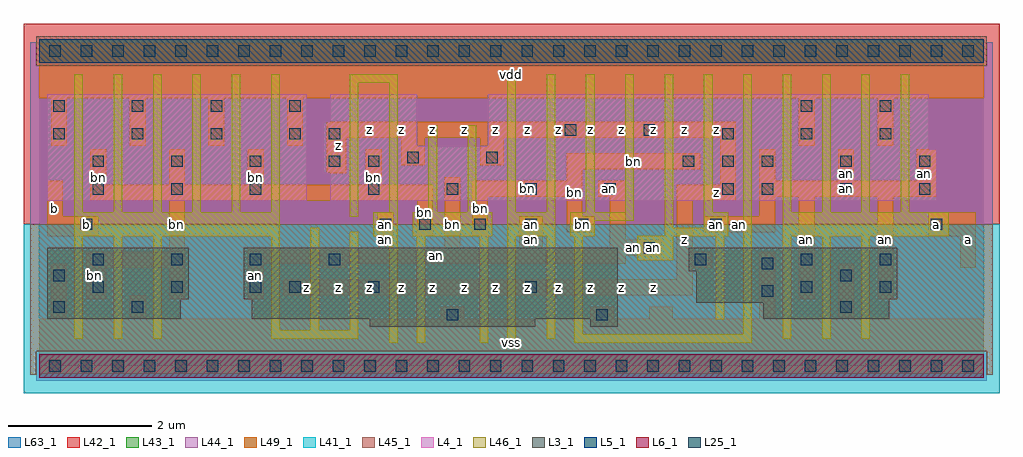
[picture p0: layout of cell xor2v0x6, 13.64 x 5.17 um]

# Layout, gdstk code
import gdstk
lib = gdstk.Library(unit=1e-6, precision=1e-09)
def R(c, l, rs):  # rectangles x0, y0, x1, y1
    for r in rs: c.add(gdstk.rectangle(r[:2], r[2:], *l))
def A(c, l, x, y, w, h, nx, ny, dx, dy):  # array of equal rectangles
    R(c, l, [(x+i*dx, y+j*dy, x+i*dx+w, y+j*dy+h) for i in range(nx) for j in range(ny)])
L3_1 = (3, 1)
L4_1 = (4, 1)
L5_1 = (5, 1)
L6_1 = (6, 1)
L25_1 = (25, 1)
L41_1 = (41, 1)
L42_1 = (42, 1)
L43_1 = (43, 1)
L44_1 = (44, 1)
L45_1 = (45, 1)
L46_1 = (46, 1)
L49_1 = (49, 1)
L63_1 = (63, 1)

xor2v0x6 = lib.new_cell('xor2v0x6')
R(xor2v0x6, L3_1, [(4.62,0.55,6.93,0.66), (7.7,0.55,8.085,0.66), (0.11,0.66,1.98,0.935), (2.97,0.66,8.085,0.935), (10.12,0.66,11.88,0.88), (9.185,0.88,11.88,0.935), (0.11,0.935,2.09,1.65), (2.86,0.935,8.085,1.65), (9.185,0.935,11.99,1.32), (9.075,1.32,11.99,1.65)])
R(xor2v0x6, L4_1, [(0.11,2.31,3.74,3.795), (4.07,2.31,12.54,2.695), (3.96,2.695,12.54,3.025), (3.96,3.025,12.43,3.08), (3.96,3.08,5.28,3.41), (6.27,3.08,12.43,3.795), (4.07,3.41,5.28,3.795)])
R(xor2v0x6, L5_1, [(0,4.235,13.2,4.565)])
R(xor2v0x6, L6_1, [(0,-0.165,13.2,0.165)])
A(xor2v0x6, L25_1, 0.14, -0.08, 0.16, 0.16, 30, 2, 0.44, 4.4)
A(xor2v0x6, L25_1, 0.745, 1.02, 0.16, 0.16, 3, 2, 1.1, 1.375)
A(xor2v0x6, L25_1, 0.745, 1.405, 0.16, 0.16, 4, 2, 1.1, 1.375)
A(xor2v0x6, L25_1, 6.08, 1.9, 0.16, 0.16, 3, 1, 0.715, 0)
A(xor2v0x6, L25_1, 4.595, 2.395, 0.16, 0.16, 4, 1, 1.1, 0)
A(xor2v0x6, L25_1, 10.095, 2.395, 0.16, 0.16, 3, 1, 1.1, 0)
A(xor2v0x6, L25_1, 8.995, 2.78, 0.16, 0.16, 3, 1, 0.55, 0)
A(xor2v0x6, L25_1, 0.195, 3.165, 0.16, 0.16, 4, 2, 1.1, 0.385)
A(xor2v0x6, L25_1, 9.545, 3.165, 0.16, 0.16, 3, 1, 1.1, 0)
R(xor2v0x6, L25_1, [(5.695,0.635,5.855,0.795), (7.785,0.635,7.945,0.795), (0.195,0.745,0.355,0.905), (1.295,0.745,1.455,0.905), (11.195,0.745,11.355,0.905), (10.095,0.965,10.255,1.125), (3.495,1.02,3.655,1.18), (4.595,1.02,4.755,1.18), (6.795,1.02,6.955,1.18), (10.645,1.02,10.805,1.18), (11.745,1.02,11.905,1.18), (0.195,1.185,0.355,1.345), (11.195,1.185,11.355,1.345), (10.095,1.35,10.255,1.51), (9.16,1.405,9.32,1.565), (10.645,1.405,10.805,1.565), (11.745,1.405,11.905,1.565), (8.445,1.57,8.605,1.73), (0.58,1.9,0.74,2.06), (4.76,1.9,4.92,2.06), (5.31,1.9,5.47,2.06), (9.38,1.9,9.54,2.06), (12.46,1.9,12.62,2.06), (9.545,2.395,9.705,2.555), (4.595,2.78,4.755,2.94), (11.195,2.78,11.355,2.94), (12.295,2.78,12.455,2.94), (5.145,2.835,5.305,2.995), (6.245,2.835,6.405,2.995), (4.045,3.165,4.205,3.325), (7.345,3.22,7.505,3.38), (8.445,3.22,8.605,3.38), (10.645,3.55,10.805,3.71), (11.745,3.55,11.905,3.71)])
R(xor2v0x6, L41_1, [(-0.22,-0.385,13.42,1.98)])
R(xor2v0x6, L42_1, [(-0.22,1.98,13.42,4.785)])
R(xor2v0x6, L43_1, [(0,-0.165,13.2,0.165), (4.62,0.55,6.93,0.66), (7.7,0.55,8.085,0.66), (0.11,0.66,1.98,0.935), (2.97,0.66,8.085,0.935), (10.12,0.66,11.88,0.88), (9.185,0.88,11.88,0.935), (0.11,0.935,2.09,1.65), (2.86,0.935,8.085,1.65), (9.185,0.935,11.99,1.32), (9.075,1.32,11.99,1.65), (0.11,2.31,3.74,3.795), (4.07,2.31,12.54,2.695), (3.96,2.695,12.54,3.025), (3.96,3.025,12.43,3.08), (3.96,3.08,5.28,3.41), (6.27,3.08,12.43,3.795), (4.07,3.41,5.28,3.795), (0,4.235,13.2,4.565)])
R(xor2v0x6, L44_1, [(-0.04,-0.205,13.24,0.205), (-0.125,1.98,13.325,4.195), (-0.125,4.195,-0.04,4.525), (13.24,4.195,13.325,4.525)])
R(xor2v0x6, L45_1, [(-0.125,-0.125,-0.04,0.205), (13.24,-0.125,13.325,0.205), (-0.125,0.205,13.325,1.98), (-0.04,4.195,13.24,4.605)])
A(xor2v0x6, L46_1, 0.49, 0.38, 0.12, 1.43, 3, 1, 0.55, 0)
A(xor2v0x6, L46_1, 10.39, 0.38, 0.12, 1.43, 3, 1, 0.55, 0)
A(xor2v0x6, L46_1, 0.49, 2.15, 0.12, 1.925, 6, 1, 0.55, 0)
A(xor2v0x6, L46_1, 6.54, 2.15, 0.12, 1.925, 4, 1, 0.55, 0)
A(xor2v0x6, L46_1, 10.39, 2.15, 0.12, 1.925, 4, 1, 0.55, 0)
R(xor2v0x6, L46_1, [(4.89,0.325,5.01,1.81), (5.275,0.325,5.395,1.81), (6.155,0.325,6.275,1.81), (6.54,0.325,6.66,1.81), (7.475,0.325,9.96,0.445), (3.24,0.38,4.46,0.5), (7.09,0.38,7.21,1.81), (7.475,0.445,7.595,1.81), (9.84,0.445,9.96,4.075), (3.24,0.5,3.36,1.81), (3.79,0.5,3.91,1.93), (4.34,0.5,4.46,1.875), (9.455,0.655,9.575,1.81), (8.355,1.48,8.86,1.81), (0.49,1.81,3.36,2.15), (4.67,1.81,5.01,2.15), (5.22,1.81,6.33,2.15), (6.54,1.81,7.21,2.15), (7.42,1.81,7.76,2.03), (8.355,1.81,9.63,1.82), (10.39,1.81,12.71,2.15), (8.74,1.82,9.63,1.93), (8.74,1.93,8.86,4.075), (9.29,1.93,9.63,2.15), (7.42,2.03,8.31,2.15), (4.34,2.085,4.46,3.955), (4.89,2.15,5.01,3.955), (5.44,2.15,5.56,3.36), (5.99,2.15,6.11,3.36), (9.29,2.15,9.41,4.075), (4.34,3.955,5.01,4.075)])
A(xor2v0x6, L49_1, 0.715, 2.53, 0.22, 0.495, 3, 1, 1.1, 0)
A(xor2v0x6, L49_1, 0.165, 3.08, 0.22, 0.66, 4, 1, 1.1, 0)
R(xor2v0x6, L49_1, [(0,-0.11,13.2,0.66), (0.165,0.66,0.385,1.43), (1.265,0.66,1.485,0.99), (5.61,0.66,5.94,0.825), (7.7,0.66,8.03,0.825), (8.525,0.66,8.855,0.825), (10.065,0.66,10.285,1.595), (11.165,0.66,11.385,1.43), (0.66,0.935,0.935,1.375), (1.815,0.935,2.035,1.375), (2.915,0.935,3.135,1.43), (10.615,0.935,10.835,2.365), (11.715,0.935,11.935,2.365), (3.41,0.99,9.13,1.21), (8.91,1.21,9.13,1.375), (0.66,1.375,2.035,1.595), (3.96,1.375,4.29,1.43), (8.91,1.375,9.405,1.595), (12.87,1.375,13.09,1.815), (2.915,1.43,8.195,1.54), (2.915,1.54,8.69,1.65), (1.815,1.595,2.035,2.31), (8.91,1.595,9.13,2.31), (4.73,1.65,4.95,2.145), (5.665,1.65,5.885,2.64), (6.71,1.65,7.04,2.09), (7.975,1.65,8.69,1.76), (7.975,1.76,8.195,2.365), (0.11,1.815,0.825,2.09), (5.28,1.815,5.5,2.31), (6.05,1.815,6.27,2.365), (12.43,1.815,13.09,2.145), (7.37,1.87,7.755,2.09), (9.295,1.87,10.285,2.09), (0.11,2.09,0.33,2.585), (7.37,2.09,7.59,2.365), (10.065,2.09,10.285,2.365), (0.715,2.31,5.5,2.53), (8.91,2.31,9.735,2.53), (6.05,2.365,7.59,2.585), (7.81,2.365,8.195,2.585), (10.065,2.365,12.54,2.585), (4.565,2.53,4.785,3.025), (9.515,2.53,9.735,3.19), (7.37,2.585,7.59,2.75), (10.065,2.585,10.285,3.025), (11.165,2.585,11.385,3.025), (12.265,2.585,12.54,3.025), (4.015,2.695,4.29,3.19), (7.37,2.75,9.24,2.97), (5.06,2.805,5.39,3.19), (6.16,2.805,6.49,3.19), (10.615,3.08,10.835,3.74), (11.715,3.08,11.935,3.74), (4.015,3.19,9.735,3.41), (0,3.74,13.2,4.51)])
R(xor2v0x6, L63_1, [(0,0,13.2,4.4)])
xor2v0x6.add(gdstk.Label('an', (4.84,1.98), layer=49, texttype=1))
xor2v0x6.add(gdstk.Label('bn', (5.775,1.98), layer=46, texttype=1))
xor2v0x6.add(gdstk.Label('an', (6.875,1.98), layer=49, texttype=1))
xor2v0x6.add(gdstk.Label('bn', (7.59,1.98), layer=49, texttype=1))
xor2v0x6.add(gdstk.Label('an', (8.58,1.65), layer=49, texttype=1))
xor2v0x6.add(gdstk.Label('an', (9.46,1.98), layer=49, texttype=1))
xor2v0x6.add(gdstk.Label('bn', (0.77,1.265), layer=49, texttype=1))
xor2v0x6.add(gdstk.Label('b', (0.66,1.98), layer=49, texttype=1))
xor2v0x6.add(gdstk.Label('b', (0.22,2.2), layer=49, texttype=1))
xor2v0x6.add(gdstk.Label('bn', (1.925,1.98), layer=49, texttype=1))
xor2v0x6.add(gdstk.Label('bn', (0.825,2.64), layer=49, texttype=1))
xor2v0x6.add(gdstk.Label('z', (4.18,1.1), layer=49, texttype=1))
xor2v0x6.add(gdstk.Label('z', (3.74,1.1), layer=49, texttype=1))
xor2v0x6.add(gdstk.Label('an', (3.025,1.265), layer=49, texttype=1))
xor2v0x6.add(gdstk.Label('z', (4.18,3.08), layer=49, texttype=1))
xor2v0x6.add(gdstk.Label('bn', (3.025,2.64), layer=49, texttype=1))
xor2v0x6.add(gdstk.Label('z', (5.5,1.1), layer=49, texttype=1))
xor2v0x6.add(gdstk.Label('z', (5.94,1.1), layer=49, texttype=1))
xor2v0x6.add(gdstk.Label('z', (6.38,1.1), layer=49, texttype=1))
xor2v0x6.add(gdstk.Label('z', (5.06,1.1), layer=49, texttype=1))
xor2v0x6.add(gdstk.Label('z', (4.62,1.1), layer=49, texttype=1))
xor2v0x6.add(gdstk.Label('an', (4.84,1.76), layer=49, texttype=1))
xor2v0x6.add(gdstk.Label('bn', (5.39,2.145), layer=49, texttype=1))
xor2v0x6.add(gdstk.Label('bn', (6.16,2.2), layer=49, texttype=1))
xor2v0x6.add(gdstk.Label('an', (5.775,2.035), layer=49, texttype=1))
xor2v0x6.add(gdstk.Label('bn', (4.675,2.64), layer=49, texttype=1))
xor2v0x6.add(gdstk.Label('z', (6.38,3.3), layer=49, texttype=1))
xor2v0x6.add(gdstk.Label('z', (5.94,3.3), layer=49, texttype=1))
xor2v0x6.add(gdstk.Label('z', (5.5,3.3), layer=49, texttype=1))
xor2v0x6.add(gdstk.Label('z', (5.06,3.3), layer=49, texttype=1))
xor2v0x6.add(gdstk.Label('z', (4.62,3.3), layer=49, texttype=1))
xor2v0x6.add(gdstk.Label('vss', (6.6,0.33), layer=49, texttype=1))
xor2v0x6.add(gdstk.Label('z', (6.82,1.1), layer=49, texttype=1))
xor2v0x6.add(gdstk.Label('z', (8.58,1.1), layer=49, texttype=1))
xor2v0x6.add(gdstk.Label('z', (8.14,1.1), layer=49, texttype=1))
xor2v0x6.add(gdstk.Label('z', (7.26,1.1), layer=49, texttype=1))
xor2v0x6.add(gdstk.Label('z', (7.7,1.1), layer=49, texttype=1))
xor2v0x6.add(gdstk.Label('an', (8.305,1.65), layer=49, texttype=1))
xor2v0x6.add(gdstk.Label('an', (6.875,1.76), layer=49, texttype=1))
xor2v0x6.add(gdstk.Label('an', (5.555,1.54), layer=49, texttype=1))
xor2v0x6.add(gdstk.Label('bn', (7.48,2.42), layer=49, texttype=1))
xor2v0x6.add(gdstk.Label('bn', (6.82,2.475), layer=49, texttype=1))
xor2v0x6.add(gdstk.Label('an', (7.975,2.475), layer=49, texttype=1))
xor2v0x6.add(gdstk.Label('z', (6.82,3.3), layer=49, texttype=1))
xor2v0x6.add(gdstk.Label('z', (8.58,3.3), layer=49, texttype=1))
xor2v0x6.add(gdstk.Label('z', (8.14,3.3), layer=49, texttype=1))
xor2v0x6.add(gdstk.Label('z', (7.7,3.3), layer=49, texttype=1))
xor2v0x6.add(gdstk.Label('z', (7.26,3.3), layer=49, texttype=1))
xor2v0x6.add(gdstk.Label('vdd', (6.6,4.07), layer=49, texttype=1))
xor2v0x6.add(gdstk.Label('z', (9.02,1.76), layer=49, texttype=1))
xor2v0x6.add(gdstk.Label('an', (9.79,1.98), layer=49, texttype=1))
xor2v0x6.add(gdstk.Label('z', (9.46,2.42), layer=49, texttype=1))
xor2v0x6.add(gdstk.Label('an', (10.725,1.76), layer=49, texttype=1))
xor2v0x6.add(gdstk.Label('bn', (8.305,2.86), layer=49, texttype=1))
xor2v0x6.add(gdstk.Label('z', (9.02,3.3), layer=49, texttype=1))
xor2v0x6.add(gdstk.Label('z', (9.46,3.3), layer=49, texttype=1))
xor2v0x6.add(gdstk.Label('a', (12.54,1.98), layer=49, texttype=1))
xor2v0x6.add(gdstk.Label('a', (12.98,1.76), layer=49, texttype=1))
xor2v0x6.add(gdstk.Label('an', (11.825,1.76), layer=49, texttype=1))
xor2v0x6.add(gdstk.Label('an', (11.275,2.475), layer=49, texttype=1))
xor2v0x6.add(gdstk.Label('an', (12.375,2.695), layer=49, texttype=1))
xor2v0x6.add(gdstk.Label('an', (11.275,2.695), layer=49, texttype=1))

lib.write_gds('xor2v0x6.gds')
